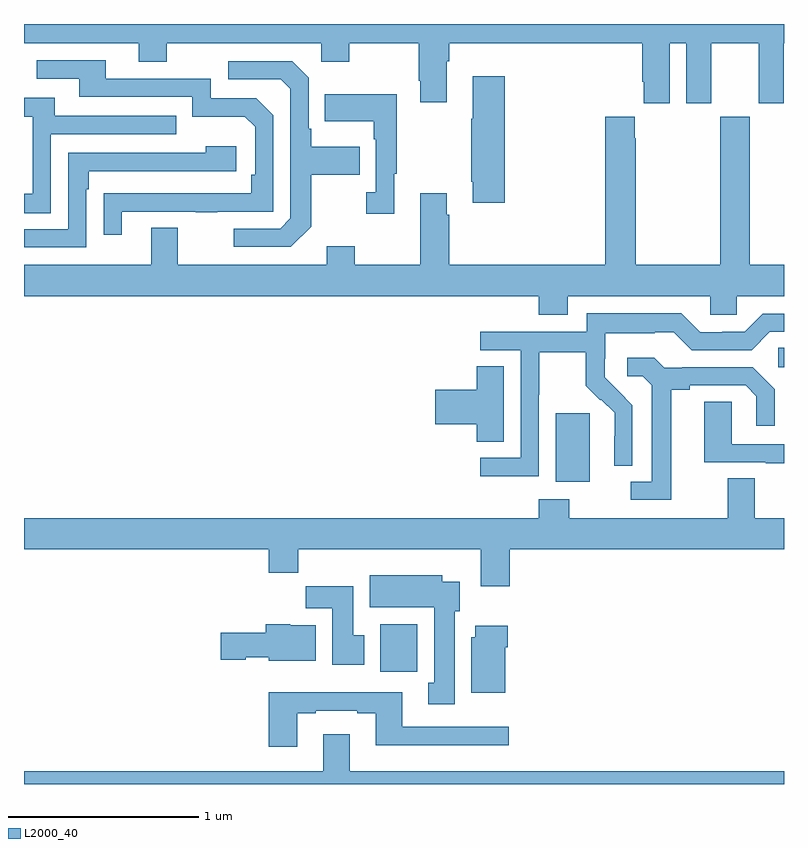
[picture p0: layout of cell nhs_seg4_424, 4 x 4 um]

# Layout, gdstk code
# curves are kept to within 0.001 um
import gdstk
lib = gdstk.Library(unit=1e-6, precision=1e-09)
def R(c, l, rs):  # rectangles x0, y0, x1, y1
    for r in rs: c.add(gdstk.rectangle(r[:2], r[2:], *l))
def P(c, l, *ps):  # polygons
    for p in ps: c.add(gdstk.Polygon(p, *l))
L2000_40 = (2000, 40)

nhs_seg4_424 = lib.new_cell('nhs_seg4_424')
R(nhs_seg4_424, L2000_40, [(132.875,813.492,133.071,813.742), (133.799,814.49,133.978,814.851), (134.97,815.094,135,815.195)])
P(nhs_seg4_424, L2000_40, [(134.398,816.8),(134.486,816.8),(134.486,816.483),(134.617,816.483),(134.617,816.8),(134.867,816.8),(134.867,816.483),(134.998,816.483),(134.998,816.8),(135,816.8),(135,816.9),(131,816.9),(131,816.8),(131.603,816.8),(131.603,816.701),(131.751,816.701),(131.751,816.8),(132.564,816.8),(132.564,816.701),(132.711,816.701),(132.711,816.8),(133.078,816.8),(133.078,816.601),(133.085,816.601),(133.085,816.489),(133.225,816.489),(133.225,816.704),(133.238,816.704),(133.238,816.8),(134.255,816.8),(134.255,816.595),(134.261,816.595),(134.261,816.483),(134.398,816.483)],
  [(131.515,815.913),(131.905,815.913),(131.905,815.908),(132.017,815.908),(132.017,815.913),(132.312,815.913),(132.312,816.42),(132.222,816.51),(131.982,816.51),(131.982,816.612),(131.431,816.612),(131.431,816.708),(131.067,816.708),(131.067,816.612),(131.291,816.612),(131.291,816.516),(131.886,816.516),(131.886,816.413),(132.163,816.413),(132.216,816.36),(132.216,816.106),(132.196,816.106),(132.196,816.009),(131.419,816.008),(131.419,815.79),(131.515,815.79)],
  [(132.511,815.833),(132.511,816.106),(132.767,816.106),(132.767,816.253),(132.511,816.253),(132.511,816.349),(132.498,816.349),(132.498,816.618),(132.411,816.705),(132.075,816.705),(132.075,816.609),(132.351,816.609),(132.402,816.558),(132.402,815.877),(132.348,815.823),(132.105,815.823),(132.105,815.727),(132.405,815.727)],
  [(133.529,816.625),(133.361,816.625),(133.361,816.401),(133.354,816.401),(133.354,816.07),(133.361,816.07),(133.361,815.958),(133.529,815.958)],
  [(132.949,816.113),(132.961,816.113),(132.961,816.529),(132.583,816.529),(132.583,816.389),(132.84,816.389),(132.84,816.293),(132.852,816.293),(132.852,816.014),(132.801,816.014),(132.801,815.901),(132.949,815.901)],
  [(131.142,816.321),(131.801,816.321),(131.801,816.417),(131.161,816.417),(131.161,816.511),(131,816.511),(131,816.411),(131.046,816.411),(131.046,816.006),(131,816.006),(131,815.905),(131.142,815.905)],
  [(133.861,815.468),(134.613,815.468),(134.613,815.37),(134.751,815.37),(134.751,815.468),(135,815.468),(135,815.632),(134.82,815.632),(134.82,816.412),(134.665,816.412),(134.665,815.632),(134.22,815.632),(134.22,816.299),(134.215,816.299),(134.215,816.412),(134.06,816.412),(134.06,815.632),(133.238,815.632),(133.238,815.897),(133.225,815.897),(133.225,816.01),(133.085,816.01),(133.085,815.632),(132.741,815.632),(132.741,815.731),(132.593,815.731),(132.593,815.632),(131.809,815.632),(131.809,815.827),(131.669,815.827),(131.669,815.632),(131,815.632),(131,815.468),(133.709,815.468),(133.709,815.369),(133.861,815.369)],
  [(131.328,816.029),(131.341,816.029),(131.341,816.126),(132.118,816.126),(132.118,816.256),(131.957,816.256),(131.957,816.222),(131.232,816.222),(131.232,815.82),(131,815.82),(131,815.724),(131.328,815.724)],
  [(133.71,814.948),(133.713,814.948),(133.713,815.172),(133.957,815.172),(133.957,814.997),(134.034,814.92),(134.037,814.923),(134.108,814.853),(134.108,814.73),(134.106,814.73),(134.106,814.576),(134.202,814.576),(134.202,814.894),(134.056,815.042),(134.056,815.139),(134.058,815.139),(134.058,815.273),(134.321,815.273),(134.321,815.277),(134.421,815.277),(134.514,815.184),(134.829,815.184),(134.925,815.28),(135,815.28),(135,815.376),(134.889,815.376),(134.793,815.28),(134.675,815.28),(134.675,815.277),(134.559,815.277),(134.459,815.377),(133.962,815.377),(133.962,815.28),(133.401,815.28),(133.401,815.184),(133.614,815.184),(133.614,814.617),(133.401,814.617),(133.401,814.519),(133.71,814.519)],
  [(134.407,814.976),(134.503,814.976),(134.503,814.998),(134.798,814.998),(134.855,814.941),(134.855,814.785),(134.952,814.785),(134.952,814.978),(134.836,815.094),(134.464,815.094),(134.464,815.091),(134.37,815.091),(134.318,815.143),(134.175,815.143),(134.175,815.046),(134.256,815.046),(134.303,814.999),(134.303,814.491),(134.193,814.491),(134.193,814.395),(134.407,814.395)],
  [(133.525,815.099),(133.382,815.099),(133.382,814.976),(133.164,814.976),(133.164,814.793),(133.382,814.793),(133.382,814.702),(133.525,814.702)],
  [(135,814.689),(134.724,814.689),(134.724,814.913),(134.579,814.913),(134.579,814.593),(134.903,814.593),(134.903,814.589),(135,814.589)],
  [(133.556,814.136),(135,814.136),(135,814.3),(134.845,814.3),(134.845,814.508),(134.705,814.508),(134.705,814.3),(133.869,814.3),(133.869,814.399),(133.709,814.399),(133.709,814.3),(131,814.3),(131,814.136),(132.287,814.136),(132.287,814.012),(132.443,814.012),(132.443,814.136),(133.403,814.136),(133.403,813.942),(133.556,813.942)],
  [(133.267,813.81),(133.294,813.81),(133.294,813.964),(133.201,813.964),(133.201,814),(132.821,814),(132.821,813.83),(133.16,813.83),(133.16,813.433),(133.127,813.433),(133.127,813.321),(133.267,813.321)],
  [(132.79,813.684),(132.733,813.684),(132.733,813.942),(132.484,813.942),(132.484,813.824),(132.623,813.824),(132.623,813.528),(132.79,813.528)],
  [(132.535,813.736),(132.402,813.736),(132.402,813.742),(132.272,813.742),(132.272,813.696),(132.036,813.696),(132.036,813.554),(132.168,813.554),(132.168,813.566),(132.288,813.566),(132.288,813.548),(132.535,813.548)],
  [(133.534,813.62),(133.547,813.62),(133.547,813.733),(133.376,813.733),(133.376,813.672),(133.355,813.672),(133.355,813.38),(133.534,813.38)],
  [(132.439,813.273),(132.535,813.273),(132.535,813.285),(132.755,813.285),(132.755,813.273),(132.851,813.273),(132.851,813.104),(133.552,813.104),(133.552,813.201),(132.991,813.201),(132.991,813.382),(132.287,813.382),(132.287,813.096),(132.439,813.096)],
  [(135,812.968),(132.715,812.968),(132.715,813.163),(132.575,813.163),(132.575,812.968),(131,812.968),(131,812.9),(135,812.9)])

lib.write_gds('nhs_seg4_424.gds')
